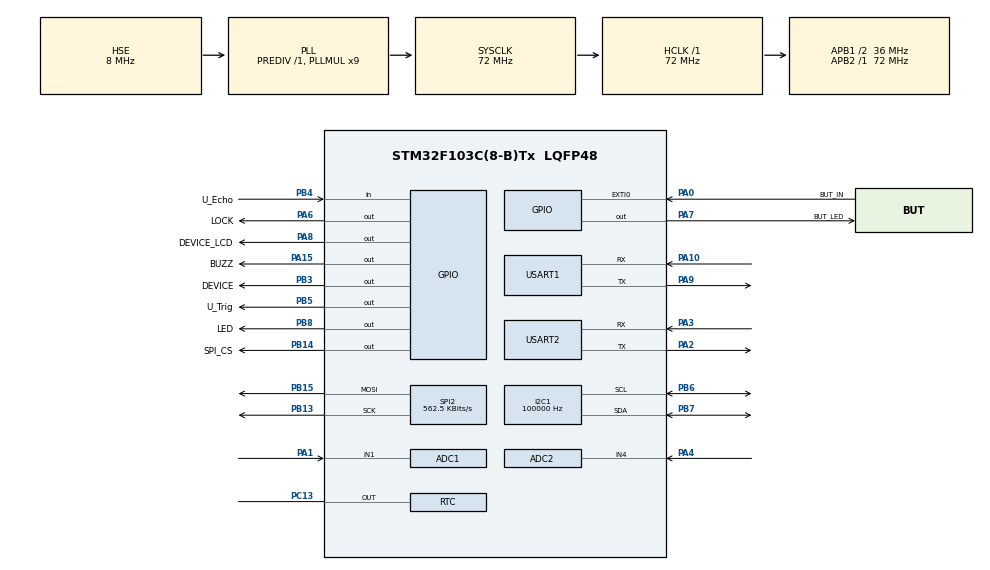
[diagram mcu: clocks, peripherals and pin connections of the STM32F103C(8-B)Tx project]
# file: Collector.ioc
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ADC1.Channel-2\#ChannelRegularConversion=ADC_CHANNEL_1
ADC1.NbrOfConversionFlag=1
ADC1.Rank-2\#ChannelRegularConversion=1
ADC1.SamplingTime-2\#ChannelRegularConversion=ADC_SAMPLETIME_1CYCLE_5
ADC1.master=1
ADC2.Channel-2\#ChannelRegularConversion=ADC_CHANNEL_4
ADC2.NbrOfConversionFlag=1
ADC2.Rank-2\#ChannelRegularConversion=1
ADC2.SamplingTime-2\#ChannelRegularConversion=ADC_SAMPLETIME_1CYCLE_5
I2C1.ClockSpeed=100000
Mcu.Family=STM32F1
Mcu.Name=STM32F103C(8-B)Tx
Mcu.Package=LQFP48
NVIC.EXTI0_IRQn=true\:0\:0\:false\:false\:true\:true\:true\:true
NVIC.PriorityGroup=NVIC_PRIORITYGROUP_4
NVIC.RCC_IRQn=true\:0\:0\:false\:false\:true\:true\:false\:true
NVIC.RTC_Alarm_IRQn=true\:0\:0\:false\:false\:true\:true\:true\:true
NVIC.RTC_IRQn=true\:0\:0\:false\:false\:true\:true\:true\:true
NVIC.USART1_IRQn=true\:0\:0\:false\:false\:true\:true\:true\:true
NVIC.USART2_IRQn=true\:0\:0\:false\:false\:true\:true\:true\:true
PA0-WKUP.GPIO_Label=BUT_IN
PA0-WKUP.GPIO_ModeDefaultEXTI=GPIO_MODE_IT_FALLING
PA0-WKUP.GPIO_PuPd=GPIO_PULLUP
PA0-WKUP.Signal=GPXTI0
PA1.Signal=ADCx_IN1
PA10.Mode=Asynchronous
PA10.Signal=USART1_RX
PA13.Mode=Serial_Wire
PA13.Signal=SYS_JTMS-SWDIO
PA14.Mode=Serial_Wire
PA14.Signal=SYS_JTCK-SWCLK
PA15.GPIO_Label=BUZZ
PA15.GPIO_Speed=GPIO_SPEED_FREQ_LOW
PA15.Signal=GPIO_Output
PA2.Mode=Asynchronous
PA2.Signal=USART2_TX
PA3.Mode=Asynchronous
PA3.Signal=USART2_RX
PA4.Signal=ADCx_IN4
PA6.GPIO_Label=LOCK
PA6.Signal=GPIO_Output
PA7.GPIO_Label=BUT_LED
PA7.Signal=GPIO_Output
PA8.GPIO_Label=DEVICE_LCD
PA8.GPIO_ModeDefaultOutputPP=GPIO_MODE_OUTPUT_OD
PA8.GPIO_PuPd=GPIO_PULLUP
PA8.PinState=GPIO_PIN_SET
PA8.Signal=GPIO_Output
PA9.Mode=Asynchronous
PA9.Signal=USART1_TX
PB13.Mode=TX_Only_Simplex_Unidirect_Master
PB13.Signal=SPI2_SCK
PB14.GPIO_Label=SPI_CS
PB14.GPIO_Speed=GPIO_SPEED_FREQ_HIGH
PB14.Signal=GPIO_Output
PB15.Mode=TX_Only_Simplex_Unidirect_Master
PB15.Signal=SPI2_MOSI
PB3.GPIO_Label=DEVICE
PB3.GPIO_ModeDefaultOutputPP=GPIO_MODE_OUTPUT_PP
PB3.GPIO_PuPd=GPIO_PULLDOWN
PB3.PinState=GPIO_PIN_RESET
PB3.Signal=GPIO_Output
PB4.GPIO_Label=U_Echo
PB4.GPIO_PuPd=GPIO_PULLDOWN
PB4.Signal=GPIO_Input
PB5.GPIO_Label=U_Trig
PB5.GPIO_Speed=GPIO_SPEED_FREQ_LOW
PB5.Signal=GPIO_Output
PB6.Mode=I2C
PB6.Signal=I2C1_SCL
PB7.Mode=I2C
PB7.Signal=I2C1_SDA
PB8.GPIO_Label=LED
PB8.Signal=GPIO_Output
PC13-TAMPER-RTC.Mode=RTC OUT
PC13-TAMPER-RTC.Signal=RTC_OUT
PC14-OSC32_IN.Mode=LSE-External-Oscillator
PC14-OSC32_IN.Signal=RCC_OSC32_IN
PC15-OSC32_OUT.Mode=LSE-External-Oscillator
PC15-OSC32_OUT.Signal=RCC_OSC32_OUT
PD0-OSC_IN.Mode=HSE-External-Oscillator
PD0-OSC_IN.Signal=RCC_OSC_IN
PD1-OSC_OUT.Mode=HSE-External-Oscillator
PD1-OSC_OUT.Signal=RCC_OSC_OUT
ProjectManager.HeapSize=0x200
ProjectManager.StackSize=0x400
ProjectManager.TargetToolchain=STM32CubeIDE
RCC.ADCPresc=RCC_ADCPCLK2_DIV6
RCC.AHBFreq_Value=72000000
RCC.APB1CLKDivider=RCC_HCLK_DIV2
RCC.APB1Freq_Value=36000000
RCC.APB1TimFreq_Value=72000000
RCC.APB2Freq_Value=72000000
RCC.APB2TimFreq_Value=72000000
RCC.HCLKFreq_Value=72000000
RCC.PLLMUL=RCC_PLL_MUL9
RCC.PLLSourceVirtual=RCC_PLLSOURCE_HSE
RCC.RTCClockSelection=RCC_RTCCLKSOURCE_LSE
RCC.SYSCLKFreq_VALUE=72000000
RCC.SYSCLKSource=RCC_SYSCLKSOURCE_PLLCLK
RCC.USBFreq_Value=48000000
RCC.USBPrescaler=RCC_USBCLKSOURCE_PLL_DIV1_5
RTC.Format=RTC_FORMAT_BIN
RTC.Hours_A-RTC\ OUT=0
RTC.Minutes_A-RTC\ OUT=5
SH.ADCx_IN1.0=ADC1_IN1,IN1
SH.ADCx_IN4.0=ADC2_IN4,IN4
SPI2.BaudRatePrescaler=SPI_BAUDRATEPRESCALER_64
SPI2.CalculateBaudRate=562.5 KBits/s
SPI2.Direction=SPI_DIRECTION_2LINES
SPI2.Mode=SPI_MODE_MASTER
SPI2.VirtualType=VM_MASTER
TIM1.Period=65535-1
TIM1.Prescaler=72-1
USART1.VirtualMode=VM_ASYNC
USART2.VirtualMode=VM_ASYNC
VP_RTC_VS_RTC_Activate.Mode=RTC_Enabled
VP_TIM1_VS_ClockSourceINT.Mode=Internal
board=custom

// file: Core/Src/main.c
/* USER CODE BEGIN Header */
/**
  ******************************************************************************
  * @file           : main.c
  * @brief          : Main program body
  ******************************************************************************
  * @attention
  *
  * Copyright (c) 2025 STMicroelectronics.
  * All rights reserved.
  *
  * This software is licensed under terms that can be found in the LICENSE file
  * in the root directory of this software component.
  * If no LICENSE file comes with this software, it is provided AS-IS.
  *
  ******************************************************************************
  */
/* USER CODE END Header */
#include "main.h"

/* USER CODE BEGIN Includes */
#include "Ultrasonic.h"
#include "SIMCOM.h"
#include <math.h>
#include "RTC.h"
#include "UI.h"
/* USER CODE END Includes */

/* USER CODE BEGIN PD */
/*
* Constant for Volume calculation
* Change base on the specify tank
*/
float  MAX_HEIGHT = 75.2f;
float MIN_HEIGHT = 20.0f;
float AREA = 38.2f;
#define UNLOCK_TIME 3000	//ms
const int type_screen = 128;
/* USER CODE END PD */

/* USER CODE BEGIN PM */

// const char* data_Post = "{\"volume\": 54,\"battery\": 39}";		//test sim//
/* USER CODE END PM */

ADC_HandleTypeDef hadc1;
ADC_HandleTypeDef hadc2;

I2C_HandleTypeDef hi2c1;

RTC_HandleTypeDef hrtc;

SPI_HandleTypeDef hspi2;

TIM_HandleTypeDef htim1;

UART_HandleTypeDef huart1;
UART_HandleTypeDef huart2;

/* USER CODE BEGIN PV */
/*
* LOG Channel define variable
* Use for debuging and information exstract from machine if needed */
//LOG buffer for comunication and debuging
uint8_t LOG_buffer[UART_RX_BUFFER_SIZE];
// LOG Flag for check data valid
volatile bool LOG_dataValid = false;
char log_msg[LOG_SIZE];

/* RTC variable for initialization and flag */
RTC_AlarmTypeDef sAlarm = {0};
RTC_TimeTypeDef sTime = {0};
/*
* API related variable:
* for sim function and sending only
*/
//SIM buffer for post action
char data_PostSimCom[100];
// For testing only
const char* id = "dnMxMDpJakl3Tmpjd09EWTFMV0kzTUdVdE5ESXpPQzFoWW1VNQ==";		//vs10
//Data herder
char data_TransmitHeader[100];
static SIMCOM_Error result = EMPTY;
static uint8_t runtime = 0;
char result_str[100];
/* SIMCom answer */

/*
* Logic related flag:
* for system state and operation
*/
// Unlock authorization flag
volatile bool unlockAuth = false;
volatile bool alarmFlag = false;
bool EXTI_FLAG = false;			//true is allow to interupt | false is not allow

/*
* Value variable, changeable
*/
// Battery percentage
float battery = 0.0f;
// Volume in liter
float volume = 0.0f;

/*
* Unlock waiting buffer
* Add in when detect user press to turn on the machine
*/
static uint32_t unlockTime = 0;

// Time out variable
static volatile uint32_t timeout = 0;
static volatile bool timeFlag = false;
//display variable

/* Syteam running state variable */
static SystemState state = INIT;		//POWER_DOWN
static SystemState prevState = INIT;		//POWER_DOWN
/* USER CODE END PV */

void SystemClock_Config(void);
static void MX_GPIO_Init(void);
static void MX_USART2_UART_Init(void);
static void MX_TIM1_Init(void);
static void MX_I2C1_Init(void);
static void MX_RTC_Init(void);
static void MX_SPI2_Init(void);
static void MX_USART1_UART_Init(void);
static void MX_ADC2_Init(void);
static void MX_ADC1_Init(void);

/* USER CODE BEGIN 0 */

/* Delay */
void delay_ms(uint32_t delayTime){
	uint32_t startTime = HAL_GetTick();
	while((HAL_GetTick() - startTime <= delayTime)){}
}

void buzzer(uint32_t time){
	uint32_t startTime = HAL_GetTick();
	while((HAL_GetTick() - startTime <= time)){
		HAL_GPIO_WritePin(BUZZ_GPIO_Port, BUZZ_Pin, 1);
	}
	HAL_GPIO_WritePin(BUZZ_GPIO_Port, BUZZ_Pin, 0);
}

static bool timeOut(uint32_t time){
	//reset timeout when step change
	//reset timeout when inactive
	if(!timeFlag){
		timeout = HAL_GetTick()+time;
		timeFlag = true;
	}
	if(HAL_GetTick() >= timeout){
		timeFlag = false;
		return true;
	} else{
		return false;
	}
}

/*LOG CHANNEL use for command sending and logging*/
/* LOG("HEADER", "DATA");*/
HAL_StatusTypeDef LOG(char* header, char *cmd){
	memset(log_msg,'\0',UART_RX_BUFFER_SIZE);
	strcpy(log_msg, header);
	strcat(log_msg, cmd);
	strcat(log_msg, "\n"); 																//TODO change to "#"
	HAL_UART_Transmit(&huart1, (uint8_t*)log_msg, strlen(log_msg), 50);
	return HAL_OK;
}

/* Battery measurement */
float Read_Voltage(void){
	HAL_ADC_PollForConversion(&hadc1,1000);
	uint16_t readValue = HAL_ADC_GetValue(&hadc1);
	return ((float)readValue * (11.67/2065)) + 0.36; //4095*16.5;
}

/* test resistor measurement */
float Read_Resistance(void){
	HAL_ADC_PollForConversion(&hadc2,1000);
	uint16_t readValue = HAL_ADC_GetValue(&hadc2);
//	return (float)readValue * (146.0f/1993.0f);

	return (float)readValue;
}
/* UI Handle */
//128 for the 128x64 LCD
//16 for the 16x2 LCD
void UI_Handle(int type){
	if(type == 128){
		UI_12864(state);
	} else if(type == 16){
		UI_16XX(state);
	}
}

/* USER CODE END 0 */

int main(void)
{

  /* MCU Configuration--------------------------------------------------------*/

  /* Reset of all peripherals, Initializes the Flash interface and the Systick. */
  HAL_Init();

  /* Configure the system clock */
  SystemClock_Config();

  /* Initialize all configured peripherals */
  MX_GPIO_Init();
  MX_USART2_UART_Init();
  MX_TIM1_Init();
  MX_I2C1_Init();
  MX_RTC_Init();
  MX_SPI2_Init();
  MX_USART1_UART_Init();
  MX_ADC2_Init();
  MX_ADC1_Init();
  /* USER CODE BEGIN 2 */
  //Ultrasonic Timer
  HAL_TIM_Base_Start(&htim1);
  /* ADC Initialize */
  HAL_ADC_Start(&hadc1);
  HAL_ADC_Start(&hadc2);
  /* ON/OFF peripheral */
  HAL_GPIO_WritePin(BUT_LED_GPIO_Port, BUT_LED_Pin, 0);
  HAL_GPIO_WritePin(DEVICE_GPIO_Port, DEVICE_Pin, 0);
  HAL_GPIO_WritePin(LED_GPIO_Port, LED_Pin, 0);
  /* Control peripheral */
  HAL_GPIO_WritePin(LOCK_GPIO_Port, LOCK_Pin, 0);
  HAL_GPIO_WritePin(BUZZ_GPIO_Port, BUZZ_Pin, 0);
  /*init UART commute Receive*/
  HAL_UARTEx_ReceiveToIdle_IT(&huart2, SIM_buffer, UART_RX_BUFFER_SIZE);
  UI_12864(INIT);
  UI_16XX(INIT);
  /* Init delay for sim wakeup */
  delay_ms(1000);
  /* Checking LOG */
  LOG("[DEBUG]","STM32 OK!");
  buzzer(500);
  delay_ms(500);
  buzzer(500);
  /* USER CODE END 2 */

  /* Infinite loop */
  /* USER CODE BEGIN WHILE */
  while (1) {
	result = EMPTY;
	runtime = 0;
    switch(state) {
      case INIT:
    	  LOG("[DEBUG]","INIT");
    	  /* Control peripheral */
    	  HAL_GPIO_WritePin(BUT_LED_GPIO_Port, BUT_LED_Pin, 1);
    	  HAL_GPIO_WritePin(DEVICE_GPIO_Port, DEVICE_Pin, 1);
    	  HAL_GPIO_WritePin(DEVICE_LCD_GPIO_Port, DEVICE_LCD_Pin, 0);
    	  HAL_GPIO_WritePin(LED_GPIO_Port, LED_Pin, 1);
    	  /* init and test all the device */																// TODO: Thêm phần quét các thiết bị để xem có thiết bị nào lỗi không, rồi báo lên màn hình.
    	  UI_Handle(type_screen);
    	  state = WELCOME;
    	  break;
      case WELCOME:
    	  LOG("[DEBUG]","WELCOME");
    	  UI_Handle(type_screen);
    	  delay_ms(1500);
    	  state = MEASURE;
    	  break;
      case MEASURE:
    	  LOG("[DEBUG]","MEASURE");
    	  if(timeOut(5000)){
    		  state = POWER_DOWN;
    		  break;
    	  }
    	  /* Battery measurement */
//        battery = Read_Voltage();
    	  /* Volume measurement */
    	  float distance = Ultra_ReadDistance()/10.0f; //cm
    	  /* Low and High limit consideration */
    	  if(distance >= MAX_HEIGHT) {
    		  distance = MAX_HEIGHT;
    	  } else if(distance < 0.0f) {
    		  distance = 0.0f;
    	  } else {
    		  distance = distance;
    	  }

    	  volume = ((MAX_HEIGHT - distance)/10.0f * AREA);	//(lit)
//    	  volume = Read_Resistance();
//    	  volume = distance;

    	  if(alarmFlag){
    		  alarmFlag = false;
    		  state = UPDATE;
    	  } else if (distance <= MIN_HEIGHT){
    		  state = DISPLAY_FUL;
    	  } else state = DISPLAY;
    	  break;
      case DISPLAY_FUL:
    	  LOG("[DEBUG]", "FULL");
    	  UI_Handle(type_screen);
    	  state = UNLOCK_TRIAL;
    	  // Button pressing handle
    	  while(!HAL_GPIO_ReadPin(BUT_IN_GPIO_Port, BUT_IN_Pin)){}
    	  break;
      case DISPLAY:
    	  LOG("[DEBUG]","DISPLAY");
    	  UI_Handle(type_screen);
    	  state = UNLOCK_TRIAL;
    	  // Button pressing handle
    	  while(!HAL_GPIO_ReadPin(BUT_IN_GPIO_Port, BUT_IN_Pin)){}
    	  break;
      case UNLOCK_TRIAL:
    	  LOG("[DEBUG]","UNLOCK_TRIAL");
    	  if(timeOut(5000)){
    		  state = UPDATE;		//change the state if nothing happen
    		  break;
    	  }
    	  // Scan to see if the user want to unlock
    	  if(!HAL_GPIO_ReadPin(BUT_IN_GPIO_Port, BUT_IN_Pin)){
    		  buzzer(100);			//buzzer and debounce
    		  if(!HAL_GPIO_ReadPin(BUT_IN_GPIO_Port, BUT_IN_Pin)){
    			  unlockTime = HAL_GetTick() + UNLOCK_TIME;		//set the unlock time
    			  UI_clear();
    			  UI_Handle(type_screen);
    			  state = WAIT;
    			  break;
    		  }
    	  }
    	  break;
      case WAIT:
    	  LOG("[DEBUG]","WAIT");
    	  // Check to see if the user hold the button
    	  if(!HAL_GPIO_ReadPin(BUT_IN_GPIO_Port, BUT_IN_Pin)){
          // If user hold the button ecceed the require time, then unlock
    		  if(HAL_GetTick() >= unlockTime){
    			  buzzer(100);
    			  UI_clear();
    			  UI_Handle(type_screen);
    			  state = UNLOCK;
    			  break;
    		  }
          // User leave the button mid press or just accidentally press the button
          } else {
              state = DISPLAY; //return to data display screen and wait for next input if yes
              break;
          }
          break;
      case UNLOCK:
    	  LOG("[DEBUG]","UNLOCK");
    	  result  = SIMCom_Get(id, 5000);
    	  snprintf(result_str, sizeof(result_str), "RESULT: %d", result);
    	  LOG("[SIM]: ",result_str);
    	  if(result == DONE){
    		  if(strstr((char *)SIM_data, "true")){
    			  UI_clear();
    			  UI_Handle(type_screen);
    			  buzzer(1000);
    			  HAL_GPIO_WritePin(LOCK_GPIO_Port, LOCK_Pin, 1);
    			  delay_ms(200); 		//200ms for opening the door
    			  HAL_GPIO_WritePin(LOCK_GPIO_Port, LOCK_Pin, 0);
    			  state = UPDATE;
    		  } else state = REJECT; 		//REJECT
    	  } else state = FAIL;			//FAIL
    	  break;
      case UPDATE:
    	  LOG("[DEBUG]","UPDATE");
    	  UI_Handle(type_screen);
    	  buzzer(100);
    	  snprintf(data_PostSimCom, sizeof(data_PostSimCom), "{\"volume\": %.1f,\"battery\": %.1f}\r", volume, battery);
    	  result  = SIMCom_Post(data_PostSimCom, id, 5000);
    	  snprintf(result_str, sizeof(result_str), "RESULT: %d", result);
    	  LOG("[SIM]: ",result_str);
    	  if(result == DONE){
    		  state = POWER_DOWN;
    	  } else {
    		  state = FAIL;
    	  }
    	  break;
      case FAIL:
    	  LOG("[DEBUG]","FAIL");
		  UI_Handle(type_screen);		//state
		  buzzer(200);
		  delay_ms(200);
		  buzzer(200);
		  delay_ms(200);
		  buzzer(200);
		  delay_ms(200);
		  state = POWER_DOWN;
		  break;
	  case REJECT:
		  LOG("[DEBUG]","REJECT");
		  UI_Handle(type_screen);
		  buzzer(200);
		  delay_ms(200);
		  buzzer(200);
		  delay_ms(200);
		  buzzer(200);
		  delay_ms(200);
		  delay_ms(2000);
		  state = POWER_DOWN;
		  break;
      case POWER_DOWN:
    	  /* SYSTEM SLEEP ENTRY POINT */
    	  /* Final log before sleep */
    	  LOG("[DEBUG]","POWER_DOWN");
    	  UI_12864(WELCOME);
    	  /* Sim sleep */
    	  do{
    		  result = SIM_Sleep(200);
    		  snprintf(result_str, sizeof(result_str), "RESULT: %d", result);
    		  LOG("[SIM]: ",result_str);
    		  runtime += 1;
    	  } while (result!=DONE && runtime < 10);
    	  delay_ms(1000);
    	  /* turn off all peripheral */
    	  HAL_GPIO_WritePin(DEVICE_GPIO_Port, DEVICE_Pin, 0);
    	  HAL_GPIO_WritePin(DEVICE_LCD_GPIO_Port, DEVICE_LCD_Pin, 1);
    	  HAL_GPIO_WritePin(LED_GPIO_Port, LED_Pin, 0);
    	  /* Control peripheral */
    	  HAL_GPIO_WritePin(LOCK_GPIO_Port, LOCK_Pin, 0);
    	  HAL_GPIO_WritePin(BUZZ_GPIO_Port, BUZZ_Pin, 0);

    	  HAL_GPIO_DeInit(BUZZ_GPIO_Port, BUZZ_Pin);
    	  HAL_GPIO_DeInit(BUT_LED_GPIO_Port, BUT_LED_Pin);
    	  HAL_GPIO_DeInit(DEVICE_GPIO_Port, DEVICE_Pin);
    	  HAL_GPIO_DeInit(DEVICE_LCD_GPIO_Port, DEVICE_LCD_Pin);
    	  HAL_GPIO_DeInit(LOCK_GPIO_Port, LOCK_Pin);
    	  HAL_GPIO_DeInit(LED_GPIO_Port, LED_Pin);
    	  HAL_GPIO_DeInit(SPI_CS_GPIO_Port, SPI_CS_Pin);
    	  HAL_GPIO_DeInit(U_Trig_GPIO_Port, U_Trig_Pin);
    	  HAL_GPIO_DeInit(U_Echo_GPIO_Port, U_Echo_Pin );
    	  /* Turn off all control peripheral */
    	  HAL_SPI_MspDeInit(&hspi2);
    	  HAL_I2C_DeInit(&hi2c1);
    	  HAL_ADC_DeInit(&hadc1);
    	  HAL_ADC_DeInit(&hadc2);
    	  /* Reset flag */
    	  LOG_dataValid = false;
    	  SIM_DataValid = false;
    	  EXTI_FLAG = true;
    	  HAL_GPIO_WritePin(BUT_LED_GPIO_Port, BUT_LED_Pin, 0);
    	  /* Go to sleep */
    	  HAL_SuspendTick();
    	  HAL_PWR_EnterSTOPMode(PWR_LOWPOWERREGULATOR_ON, PWR_STOPENTRY_WFI);

    	  /* SYSTEM WAKEUP ENTRY POINT */
    	  /* System boost up */
    	  HAL_ResumeTick();
    	  SystemClock_Config();
    	  MX_GPIO_Init();
    	  buzzer(500);
    	  MX_USART2_UART_Init();
    	  HAL_UARTEx_ReceiveToIdle_IT(&huart2, SIM_buffer, UART_RX_BUFFER_SIZE);
    	  /* SIM wakeup */
    	  do{
    		  result = SIM_Wakeup(200);
    		  snprintf(result_str, sizeof(result_str), "RESULT: %d", result);
    		  LOG("[SIM]: ",result_str);
    		  runtime += 1;
    	  } while (result != DONE && runtime < 10);
    	  /* Turn on all control peripheral */

    	  HAL_SPI_MspInit(&hspi2);
    	  MX_I2C1_Init();
    	  MX_ADC1_Init();
    	  MX_ADC2_Init();
    	  HAL_ADC_Start(&hadc1);
    	  HAL_ADC_Start(&hadc2);
    	  LOG("[DEBUG]","WAKING UP");
    	  break;
      default:
    	  break;
    }
    // Scan state to clear the screen
    if(prevState != state){
    	//clear the screen when state change
    	if(state != UNLOCK_TRIAL && state != WAIT && state != UNLOCK) UI_clear();
    		prevState = state;
    		timeFlag = false;
    	}
    /* USER CODE END WHILE */

  	}
}

void SystemClock_Config(void)
{
  RCC_OscInitTypeDef RCC_OscInitStruct = {0};
  RCC_ClkInitTypeDef RCC_ClkInitStruct = {0};
  RCC_PeriphCLKInitTypeDef PeriphClkInit = {0};

  /** Initializes the RCC Oscillators according to the specified parameters
  * in the RCC_OscInitTypeDef structure.
  */
  RCC_OscInitStruct.OscillatorType = RCC_OSCILLATORTYPE_HSE|RCC_OSCILLATORTYPE_LSE;
  RCC_OscInitStruct.HSEState = RCC_HSE_ON;
  RCC_OscInitStruct.HSEPredivValue = RCC_HSE_PREDIV_DIV1;
  RCC_OscInitStruct.LSEState = RCC_LSE_ON;
  RCC_OscInitStruct.HSIState = RCC_HSI_ON;
  RCC_OscInitStruct.PLL.PLLState = RCC_PLL_ON;
  RCC_OscInitStruct.PLL.PLLSource = RCC_PLLSOURCE_HSE;
  RCC_OscInitStruct.PLL.PLLMUL = RCC_PLL_MUL9;
  if (HAL_RCC_OscConfig(&RCC_OscInitStruct) != HAL_OK)
  {
    Error_Handler();
  }

  /** Initializes the CPU, AHB and APB buses clocks
  */
  RCC_ClkInitStruct.ClockType = RCC_CLOCKTYPE_HCLK|RCC_CLOCKTYPE_SYSCLK
                              |RCC_CLOCKTYPE_PCLK1|RCC_CLOCKTYPE_PCLK2;
  RCC_ClkInitStruct.SYSCLKSource = RCC_SYSCLKSOURCE_PLLCLK;
  RCC_ClkInitStruct.AHBCLKDivider = RCC_SYSCLK_DIV1;
  RCC_ClkInitStruct.APB1CLKDivider = RCC_HCLK_DIV2;
  RCC_ClkInitStruct.APB2CLKDivider = RCC_HCLK_DIV1;

  if (HAL_RCC_ClockConfig(&RCC_ClkInitStruct, FLASH_LATENCY_2) != HAL_OK)
  {
    Error_Handler();
  }
  PeriphClkInit.PeriphClockSelection = RCC_PERIPHCLK_RTC|RCC_PERIPHCLK_ADC;
  PeriphClkInit.RTCClockSelection = RCC_RTCCLKSOURCE_LSE;
  PeriphClkInit.AdcClockSelection = RCC_ADCPCLK2_DIV6;
  if (HAL_RCCEx_PeriphCLKConfig(&PeriphClkInit) != HAL_OK)
  {
    Error_Handler();
  }
}

static void MX_ADC1_Init(void)
{

  ADC_ChannelConfTypeDef sConfig = {0};

  /** Common config
  */
  hadc1.Instance = ADC1;
  hadc1.Init.ScanConvMode = ADC_SCAN_DISABLE;
  hadc1.Init.ContinuousConvMode = DISABLE;
  hadc1.Init.DiscontinuousConvMode = DISABLE;
  hadc1.Init.ExternalTrigConv = ADC_SOFTWARE_START;
  hadc1.Init.DataAlign = ADC_DATAALIGN_RIGHT;
  hadc1.Init.NbrOfConversion = 1;
  if (HAL_ADC_Init(&hadc1) != HAL_OK)
  {
    Error_Handler();
  }

  /** Configure Regular Channel
  */
  sConfig.Channel = ADC_CHANNEL_1;
  sConfig.Rank = ADC_REGULAR_RANK_1;
  sConfig.SamplingTime = ADC_SAMPLETIME_1CYCLE_5;
  if (HAL_ADC_ConfigChannel(&hadc1, &sConfig) != HAL_OK)
  {
    Error_Handler();
  }

}

static void MX_ADC2_Init(void)
{

  ADC_ChannelConfTypeDef sConfig = {0};

  /** Common config
  */
  hadc2.Instance = ADC2;
  hadc2.Init.ScanConvMode = ADC_SCAN_DISABLE;
  hadc2.Init.ContinuousConvMode = DISABLE;
  hadc2.Init.DiscontinuousConvMode = DISABLE;
  hadc2.Init.ExternalTrigConv = ADC_SOFTWARE_START;
  hadc2.Init.DataAlign = ADC_DATAALIGN_RIGHT;
  hadc2.Init.NbrOfConversion = 1;
  if (HAL_ADC_Init(&hadc2) != HAL_OK)
  {
    Error_Handler();
  }

  /** Configure Regular Channel
  */
  sConfig.Channel = ADC_CHANNEL_4;
  sConfig.Rank = ADC_REGULAR_RANK_1;
  sConfig.SamplingTime = ADC_SAMPLETIME_1CYCLE_5;
  if (HAL_ADC_ConfigChannel(&hadc2, &sConfig) != HAL_OK)
  {
    Error_Handler();
  }

}

static void MX_I2C1_Init(void)
{

  hi2c1.Instance = I2C1;
  hi2c1.Init.ClockSpeed = 100000;
  hi2c1.Init.DutyCycle = I2C_DUTYCYCLE_2;
  hi2c1.Init.OwnAddress1 = 0;
  hi2c1.Init.AddressingMode = I2C_ADDRESSINGMODE_7BIT;
  hi2c1.Init.DualAddressMode = I2C_DUALADDRESS_DISABLE;
  hi2c1.Init.OwnAddress2 = 0;
  hi2c1.Init.GeneralCallMode = I2C_GENERALCALL_DISABLE;
  hi2c1.Init.NoStretchMode = I2C_NOSTRETCH_DISABLE;
  if (HAL_I2C_Init(&hi2c1) != HAL_OK)
  {
    Error_Handler();
  }

}

static void MX_RTC_Init(void)
{

  RTC_TimeTypeDef sTime = {0};
  RTC_DateTypeDef DateToUpdate = {0};
  RTC_AlarmTypeDef sAlarm = {0};

  /** Initialize RTC Only
  */
  hrtc.Instance = RTC;
  hrtc.Init.AsynchPrediv = RTC_AUTO_1_SECOND;
  hrtc.Init.OutPut = RTC_OUTPUTSOURCE_ALARM;
  if (HAL_RTC_Init(&hrtc) != HAL_OK)
  {
    Error_Handler();
  }

  /** Initialize RTC and set the Time and Date
  */
  sTime.Hours = 0;
  sTime.Minutes = 0;
  sTime.Seconds = 0;

  if (HAL_RTC_SetTime(&hrtc, &sTime, RTC_FORMAT_BIN) != HAL_OK)
  {
    Error_Handler();
  }
  DateToUpdate.WeekDay = RTC_WEEKDAY_MONDAY;
  DateToUpdate.Month = RTC_MONTH_JANUARY;
  DateToUpdate.Date = 1;
  DateToUpdate.Year = 0;

  if (HAL_RTC_SetDate(&hrtc, &DateToUpdate, RTC_FORMAT_BIN) != HAL_OK)
  {
    Error_Handler();
  }

  /** Enable the Alarm A
  */
  sAlarm.AlarmTime.Hours = 0;
  sAlarm.AlarmTime.Minutes = 5;
  sAlarm.AlarmTime.Seconds = 0;
  sAlarm.Alarm = RTC_ALARM_A;
  if (HAL_RTC_SetAlarm_IT(&hrtc, &sAlarm, RTC_FORMAT_BIN) != HAL_OK)
  {
    Error_Handler();
  }

}

static void MX_SPI2_Init(void)
{

  /* SPI2 parameter configuration*/
  hspi2.Instance = SPI2;
  hspi2.Init.Mode = SPI_MODE_MASTER;
  hspi2.Init.Direction = SPI_DIRECTION_2LINES;
  hspi2.Init.DataSize = SPI_DATASIZE_8BIT;
  hspi2.Init.CLKPolarity = SPI_POLARITY_LOW;
  hspi2.Init.CLKPhase = SPI_PHASE_1EDGE;
  hspi2.Init.NSS = SPI_NSS_SOFT;
  hspi2.Init.BaudRatePrescaler = SPI_BAUDRATEPRESCALER_64;
  hspi2.Init.FirstBit = SPI_FIRSTBIT_MSB;
  hspi2.Init.TIMode = SPI_TIMODE_DISABLE;
  hspi2.Init.CRCCalculation = SPI_CRCCALCULATION_DISABLE;
  hspi2.Init.CRCPolynomial = 10;
  if (HAL_SPI_Init(&hspi2) != HAL_OK)
  {
    Error_Handler();
  }

}

static void MX_TIM1_Init(void)
{

  TIM_ClockConfigTypeDef sClockSourceConfig = {0};
  TIM_MasterConfigTypeDef sMasterConfig = {0};

  htim1.Instance = TIM1;
  htim1.Init.Prescaler = 72-1;
  htim1.Init.CounterMode = TIM_COUNTERMODE_UP;
  htim1.Init.Period = 65535-1;
  htim1.Init.ClockDivision = TIM_CLOCKDIVISION_DIV1;
  htim1.Init.RepetitionCounter = 0;
  htim1.Init.AutoReloadPreload = TIM_AUTORELOAD_PRELOAD_DISABLE;
  if (HAL_TIM_Base_Init(&htim1) != HAL_OK)
  {
    Error_Handler();
  }
  sClockSourceConfig.ClockSource = TIM_CLOCKSOURCE_INTERNAL;
  if (HAL_TIM_ConfigClockSource(&htim1, &sClockSourceConfig) != HAL_OK)
  {
    Error_Handler();
  }
  sMasterConfig.MasterOutputTrigger = TIM_TRGO_RESET;
  sMasterConfig.MasterSlaveMode = TIM_MASTERSLAVEMODE_DISABLE;
  if (HAL_TIMEx_MasterConfigSynchronization(&htim1, &sMasterConfig) != HAL_OK)
  {
    Error_Handler();
  }

}

static void MX_USART1_UART_Init(void)
{

  huart1.Instance = USART1;
  huart1.Init.BaudRate = 115200;
  huart1.Init.WordLength = UART_WORDLENGTH_8B;
  huart1.Init.StopBits = UART_STOPBITS_1;
  huart1.Init.Parity = UART_PARITY_NONE;
  huart1.Init.Mode = UART_MODE_TX_RX;
  huart1.Init.HwFlowCtl = UART_HWCONTROL_NONE;
  huart1.Init.OverSampling = UART_OVERSAMPLING_16;
  if (HAL_UART_Init(&huart1) != HAL_OK)
  {
    Error_Handler();
  }

}

static void MX_USART2_UART_Init(void)
{

  huart2.Instance = USART2;
  huart2.Init.BaudRate = 115200;
  huart2.Init.WordLength = UART_WORDLENGTH_8B;
  huart2.Init.StopBits = UART_STOPBITS_1;
  huart2.Init.Parity = UART_PARITY_NONE;
  huart2.Init.Mode = UART_MODE_TX_RX;
  huart2.Init.HwFlowCtl = UART_HWCONTROL_NONE;
  huart2.Init.OverSampling = UART_OVERSAMPLING_16;
  if (HAL_UART_Init(&huart2) != HAL_OK)
  {
    Error_Handler();
  }

}

static void MX_GPIO_Init(void)
{
  GPIO_InitTypeDef GPIO_InitStruct = {0};

  /* GPIO Ports Clock Enable */
  __HAL_RCC_GPIOC_CLK_ENABLE();
  __HAL_RCC_GPIOD_CLK_ENABLE();
  __HAL_RCC_GPIOA_CLK_ENABLE();
  __HAL_RCC_GPIOB_CLK_ENABLE();

  /*Configure GPIO pin Output Level */
  HAL_GPIO_WritePin(GPIOA, LOCK_Pin|BUT_LED_Pin|BUZZ_Pin, GPIO_PIN_RESET);

  /*Configure GPIO pin Output Level */
  HAL_GPIO_WritePin(GPIOB, SPI_CS_Pin|DEVICE_Pin|U_Trig_Pin|LED_Pin, GPIO_PIN_RESET);

  /*Configure GPIO pin Output Level */
  HAL_GPIO_WritePin(DEVICE_LCD_GPIO_Port, DEVICE_LCD_Pin, GPIO_PIN_SET);

  /*Configure GPIO pin : BUT_IN_Pin */
  GPIO_InitStruct.Pin = BUT_IN_Pin;
  GPIO_InitStruct.Mode = GPIO_MODE_IT_FALLING;
  GPIO_InitStruct.Pull = GPIO_PULLUP;
  HAL_GPIO_Init(BUT_IN_GPIO_Port, &GPIO_InitStruct);

  /*Configure GPIO pins : LOCK_Pin BUT_LED_Pin BUZZ_Pin */
  GPIO_InitStruct.Pin = LOCK_Pin|BUT_LED_Pin|BUZZ_Pin;
  GPIO_InitStruct.Mode = GPIO_MODE_OUTPUT_PP;
  GPIO_InitStruct.Pull = GPIO_NOPULL;
  GPIO_InitStruct.Speed = GPIO_SPEED_FREQ_LOW;
  HAL_GPIO_Init(GPIOA, &GPIO_InitStruct);

  /*Configure GPIO pin : SPI_CS_Pin */
  GPIO_InitStruct.Pin = SPI_CS_Pin;
  GPIO_InitStruct.Mode = GPIO_MODE_OUTPUT_PP;
  GPIO_InitStruct.Pull = GPIO_NOPULL;
  GPIO_InitStruct.Speed = GPIO_SPEED_FREQ_HIGH;
  HAL_GPIO_Init(SPI_CS_GPIO_Port, &GPIO_InitStruct);

  /*Configure GPIO pin : DEVICE_LCD_Pin */
  GPIO_InitStruct.Pin = DEVICE_LCD_Pin;
  GPIO_InitStruct.Mode = GPIO_MODE_OUTPUT_OD;
  GPIO_InitStruct.Pull = GPIO_PULLUP;
  GPIO_InitStruct.Speed = GPIO_SPEED_FREQ_LOW;
  HAL_GPIO_Init(DEVICE_LCD_GPIO_Port, &GPIO_InitStruct);

  /*Configure GPIO pin : DEVICE_Pin */
  GPIO_InitStruct.Pin = DEVICE_Pin;
  GPIO_InitStruct.Mode = GPIO_MODE_OUTPUT_PP;
  GPIO_InitStruct.Pull = GPIO_PULLDOWN;
  GPIO_InitStruct.Speed = GPIO_SPEED_FREQ_LOW;
  HAL_GPIO_Init(DEVICE_GPIO_Port, &GPIO_InitStruct);

  /*Configure GPIO pin : U_Echo_Pin */
  GPIO_InitStruct.Pin = U_Echo_Pin;
  GPIO_InitStruct.Mode = GPIO_MODE_INPUT;
  GPIO_InitStruct.Pull = GPIO_PULLDOWN;
  HAL_GPIO_Init(U_Echo_GPIO_Port, &GPIO_InitStruct);

  /*Configure GPIO pins : U_Trig_Pin LED_Pin */
  GPIO_InitStruct.Pin = U_Trig_Pin|LED_Pin;
  GPIO_InitStruct.Mode = GPIO_MODE_OUTPUT_PP;
  GPIO_InitStruct.Pull = GPIO_NOPULL;
  GPIO_InitStruct.Speed = GPIO_SPEED_FREQ_LOW;
  HAL_GPIO_Init(GPIOB, &GPIO_InitStruct);

  /* EXTI interrupt init*/
  HAL_NVIC_SetPriority(EXTI0_IRQn, 0, 0);
  HAL_NVIC_EnableIRQ(EXTI0_IRQn);

}

/* USER CODE BEGIN 4 */
//uart call back handle

void HAL_UARTEx_RxEventCallback(UART_HandleTypeDef *huart, uint16_t Size){
	if(huart == &huart2){
		SIM_DataValid = true;
		HAL_UARTEx_ReceiveToIdle_IT(&huart2, SIM_buffer, UART_RX_BUFFER_SIZE);
	}
}

void USB_CDC_RxHandler(uint8_t* Buf, uint32_t Len)
{
	LOG_dataValid = true;
	memcpy(LOG_buffer, Buf, Len);
}

void HAL_RTC_AlarmAEventCallback(RTC_HandleTypeDef *hrtc)
{
	alarmFlag = true;
	EXTI_FLAG = false;
	state = INIT;
	Set_RTC(0, 0, 0); //(Hour, Minute, Second)
}

void HAL_GPIO_EXTI_Callback(uint16_t GPIO_Pin)
{
  //scan the pin to see which pin is triggered
	if(GPIO_Pin == BUT_IN_Pin && EXTI_FLAG)
	{
		state = INIT;
		EXTI_FLAG = false;
//		HAL_NVIC_DisableIRQ(EXTI0_IRQn);

	}
}
/* USER CODE END 4 */

void Error_Handler(void)
{
  __disable_irq();
  while (1)
  {
  }
}
